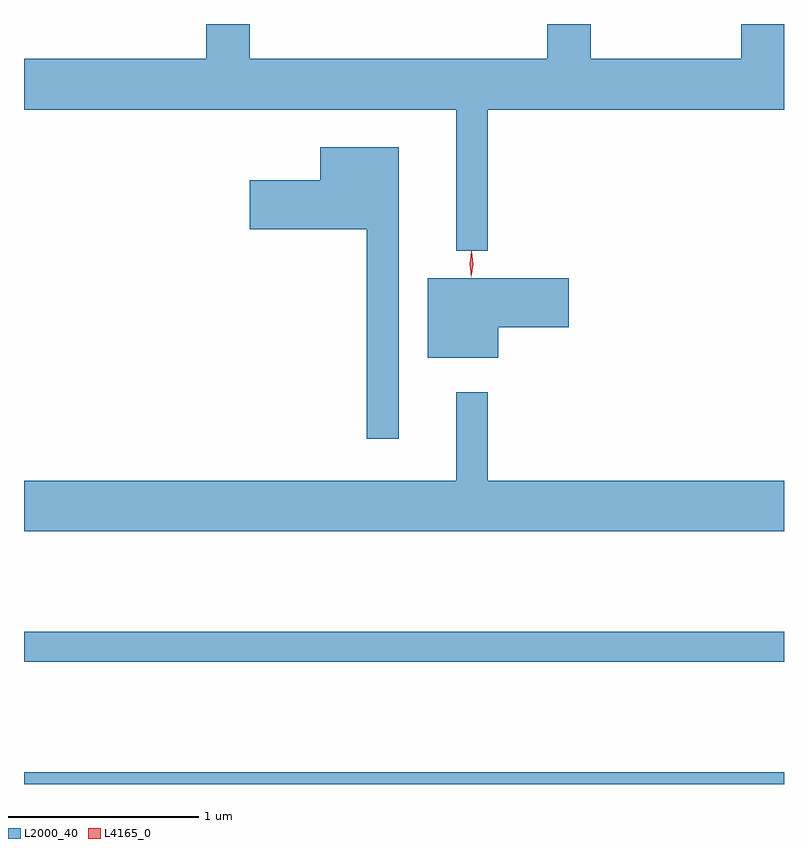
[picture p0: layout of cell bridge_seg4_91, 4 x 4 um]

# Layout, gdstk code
import gdstk
lib = gdstk.Library(unit=1e-6, precision=1e-09)
def R(c, l, rs):  # rectangles x0, y0, x1, y1
    for r in rs: c.add(gdstk.rectangle(r[:2], r[2:], *l))
def P(c, l, *ps):  # polygons
    for p in ps: c.add(gdstk.Polygon(p, *l))
L2000_40 = (2000, 40)
L4165_0 = (4165, 0)

bridge_seg4_91 = lib.new_cell('bridge_seg4_91')
R(bridge_seg4_91, L2000_40, [(961.507,1382.207,965.507,1382.269), (961.507,1382.851,965.507,1383.009)])
P(bridge_seg4_91, L2000_40, [(963.949,1385.756),(965.507,1385.756),(965.507,1386.207),(965.281,1386.207),(965.281,1386.024),(964.489,1386.024),(964.489,1386.207),(964.261,1386.207),(964.261,1386.024),(962.694,1386.024),(962.694,1386.207),(962.466,1386.207),(962.466,1386.024),(961.507,1386.024),(961.507,1385.756),(963.781,1385.756),(963.781,1385.013),(963.949,1385.013)],
  [(963.479,1385.559),(963.066,1385.559),(963.066,1385.384),(962.696,1385.384),(962.696,1385.126),(963.311,1385.126),(963.311,1384.023),(963.479,1384.023)],
  [(964.004,1384.611),(964.374,1384.611),(964.374,1384.869),(963.631,1384.869),(963.631,1384.451),(964.004,1384.451)],
  [(965.507,1383.804),(963.949,1383.804),(963.949,1384.268),(963.781,1384.268),(963.781,1383.804),(961.507,1383.804),(961.507,1383.536),(965.507,1383.536)])
P(bridge_seg4_91, L4165_0, [(963.861,1384.874),(963.861,1384.874),(963.852,1384.942),(963.862,1385.01),(963.863,1385.01),(963.863,1385.01),(963.872,1384.942),(963.862,1384.874)],
  [(963.861,1384.88),(963.86,1384.881),(963.852,1384.944),(963.862,1385.006),(963.863,1385.007),(963.863,1385.006),(963.872,1384.944),(963.861,1384.881)])

lib.write_gds('bridge_seg4_91.gds')
